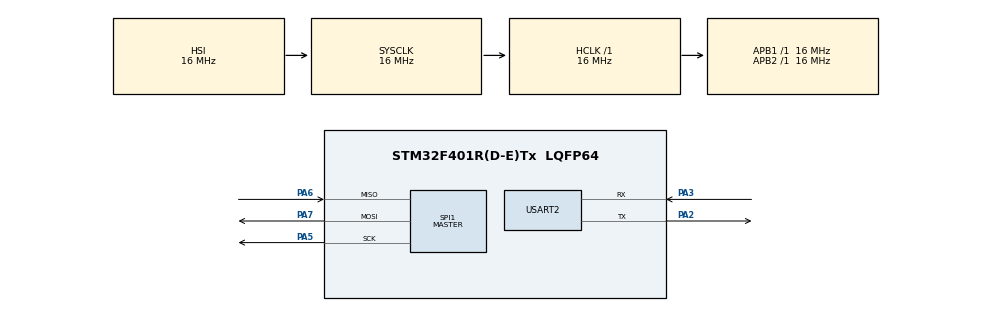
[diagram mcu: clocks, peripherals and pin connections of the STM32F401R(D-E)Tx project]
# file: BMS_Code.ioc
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Dma.Request0=SPI1_RX
Dma.Request1=SPI1_TX
Dma.SPI1_RX.0.Direction=DMA_PERIPH_TO_MEMORY
Dma.SPI1_RX.0.FIFOMode=DMA_FIFOMODE_DISABLE
Dma.SPI1_RX.0.Instance=DMA2_Stream0
Dma.SPI1_RX.0.MemDataAlignment=DMA_MDATAALIGN_BYTE
Dma.SPI1_RX.0.MemInc=DMA_MINC_ENABLE
Dma.SPI1_RX.0.Mode=DMA_NORMAL
Dma.SPI1_RX.0.PeriphDataAlignment=DMA_PDATAALIGN_BYTE
Dma.SPI1_RX.0.PeriphInc=DMA_PINC_DISABLE
Dma.SPI1_RX.0.Priority=DMA_PRIORITY_LOW
Dma.SPI1_TX.1.Direction=DMA_MEMORY_TO_PERIPH
Dma.SPI1_TX.1.FIFOMode=DMA_FIFOMODE_DISABLE
Dma.SPI1_TX.1.Instance=DMA2_Stream3
Dma.SPI1_TX.1.MemDataAlignment=DMA_MDATAALIGN_BYTE
Dma.SPI1_TX.1.MemInc=DMA_MINC_ENABLE
Dma.SPI1_TX.1.Mode=DMA_NORMAL
Dma.SPI1_TX.1.PeriphDataAlignment=DMA_PDATAALIGN_BYTE
Dma.SPI1_TX.1.PeriphInc=DMA_PINC_DISABLE
Dma.SPI1_TX.1.Priority=DMA_PRIORITY_LOW
Mcu.Family=STM32F4
Mcu.Name=STM32F401R(D-E)Tx
Mcu.Package=LQFP64
NVIC.DMA2_Stream0_IRQn=true\:0\:0\:false\:false\:true\:false\:true
NVIC.DMA2_Stream3_IRQn=true\:0\:0\:false\:false\:true\:false\:true
NVIC.PriorityGroup=NVIC_PRIORITYGROUP_4
PA2.Mode=Asynchronous
PA2.Signal=USART2_TX
PA3.Mode=Asynchronous
PA3.Signal=USART2_RX
PA5.Mode=Full_Duplex_Master
PA5.Signal=SPI1_SCK
PA6.Mode=Full_Duplex_Master
PA6.Signal=SPI1_MISO
PA7.Mode=Full_Duplex_Master
PA7.Signal=SPI1_MOSI
ProjectManager.HeapSize=0x200
ProjectManager.StackSize=0x400
ProjectManager.TargetToolchain=STM32CubeIDE
RCC.AHBFreq_Value=16000000
RCC.APB1Freq_Value=16000000
RCC.APB2Freq_Value=16000000
RCC.CortexFreq_Value=16000000
RCC.HSE_VALUE=25000000
RCC.HSI_VALUE=16000000
RCC.LSE_VALUE=32768
RCC.SYSCLKFreq_VALUE=16000000
RCC.VCOOutputFreq_Value=192000000
SPI1.Direction=SPI_DIRECTION_2LINES
SPI1.Mode=SPI_MODE_MASTER
SPI1.VirtualType=VM_MASTER
USART2.VirtualMode=VM_ASYNC
board=custom

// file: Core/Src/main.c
/* USER CODE BEGIN Header */
/**
  ******************************************************************************
  * @file           : main.c
  * @brief          : Main program body
  ******************************************************************************
  * @attention
  *
  * <h2><center>&copy; Copyright (c) 2020 STMicroelectronics.
  * All rights reserved.</center></h2>
  *
  * This software component is licensed by ST under BSD 3-Clause license,
  * the "License"; You may not use this file except in compliance with the
  * License. You may obtain a copy of the License at:
  *                        opensource.org/licenses/BSD-3-Clause
  *
  ******************************************************************************
  */
/* USER CODE END Header */

#include "main.h"

/* USER CODE BEGIN Includes */
#include "string.h"
/* USER CODE END Includes */

/* USER CODE BEGIN PM */
#define LENGTH 1
#define RX_LENGTH 1

/* USER CODE END PM */

SPI_HandleTypeDef hspi1;
DMA_HandleTypeDef hdma_spi1_rx;
DMA_HandleTypeDef hdma_spi1_tx;

UART_HandleTypeDef huart2;

/* USER CODE BEGIN PV */
uint8_t buffer_tx[LENGTH];
uint8_t buffer_rx[LENGTH];

/* USER CODE END PV */

void SystemClock_Config(void);
static void MX_GPIO_Init(void);
static void MX_DMA_Init(void);
static void MX_USART2_UART_Init(void);
static void MX_SPI1_Init(void);

int sent = 0;
int count = 0;
int main(void)
{

  /* MCU Configuration--------------------------------------------------------*/

  /* Reset of all peripherals, Initializes the Flash interface and the Systick. */
  HAL_Init();

  /* Configure the system clock */
  SystemClock_Config();

  /* Initialize all configured peripherals */
  MX_GPIO_Init();
  MX_DMA_Init();
  MX_USART2_UART_Init();
  MX_SPI1_Init();
  /* USER CODE BEGIN 2 */

  buffer_tx[0] = 0x0F | 0x80;
  buffer_tx[1] = 0x0F | 0x80;
  /*buffer_tx[2] = 30;
  buffer_tx[3] = 40;
  buffer_tx[4] = 50;
  buffer_tx[5] = 60;
  buffer_tx[6] = 70;
  buffer_tx[7] = 80;*/

  /* USER CODE END 2 */

  /* Infinite loop */

  //HAL_SPI_Transmit_DMA(&hspi1, buffer_tx, 1);

  while (1)
  {
  /* USER CODE BEGIN WHILE */

	/*if (!sent) {
		sent = 1;
		HAL_SPI_TransmitReceive_DMA(&hspi1, buffer_tx, buffer_rx, LENGTH);
		buffer_tx[0] += 1;
		buffer_tx[0] %= 128;
	}*/

	HAL_SPI_TransmitReceive_DMA(&hspi1, buffer_tx, buffer_rx, 1);

	HAL_Delay(200);
    /* USER CODE END WHILE */

  }
}

/* USER CODE BEGIN CUSTOM */

void encode(uint8_t val, char* msg) {
	msg[2] = val % 10 + '0';
	val /= 10;
	msg[1] = val % 10 + '0';
	val /= 10;
	msg[0] = val % 10 + '0';
}

void HAL_SPI_TxRxCpltCallback(SPI_HandleTypeDef *hspi) {
	char msg1[9];
	uint8_t val1 = hspi->pRxBuffPtr[0];
	uint8_t val2 = hspi->pRxBuffPtr[1];
	encode(val1, msg1);
	encode(val2, msg1 + 4);
	msg1[3] = ' ';
	msg1[7] = '\n';
	msg1[8] = '\0';

	HAL_UART_Transmit(&huart2, (uint8_t*)msg1, strlen(msg1), 0xFFFF);
}

void HAL_SPI_ErrorCallback(SPI_HandleTypeDef *hspi) {
}

/* USER CODE END CUSTOM */

void SystemClock_Config(void)
{
  RCC_OscInitTypeDef RCC_OscInitStruct = {0};
  RCC_ClkInitTypeDef RCC_ClkInitStruct = {0};

  /** Configure the main internal regulator output voltage
  */
  __HAL_RCC_PWR_CLK_ENABLE();
  __HAL_PWR_VOLTAGESCALING_CONFIG(PWR_REGULATOR_VOLTAGE_SCALE2);
  /** Initializes the CPU, AHB and APB busses clocks
  */
  RCC_OscInitStruct.OscillatorType = RCC_OSCILLATORTYPE_HSI;
  RCC_OscInitStruct.HSIState = RCC_HSI_ON;
  RCC_OscInitStruct.HSICalibrationValue = RCC_HSICALIBRATION_DEFAULT;
  RCC_OscInitStruct.PLL.PLLState = RCC_PLL_NONE;
  if (HAL_RCC_OscConfig(&RCC_OscInitStruct) != HAL_OK)
  {
    Error_Handler();
  }
  /** Initializes the CPU, AHB and APB busses clocks
  */
  RCC_ClkInitStruct.ClockType = RCC_CLOCKTYPE_HCLK|RCC_CLOCKTYPE_SYSCLK
                              |RCC_CLOCKTYPE_PCLK1|RCC_CLOCKTYPE_PCLK2;
  RCC_ClkInitStruct.SYSCLKSource = RCC_SYSCLKSOURCE_HSI;
  RCC_ClkInitStruct.AHBCLKDivider = RCC_SYSCLK_DIV1;
  RCC_ClkInitStruct.APB1CLKDivider = RCC_HCLK_DIV1;
  RCC_ClkInitStruct.APB2CLKDivider = RCC_HCLK_DIV1;

  if (HAL_RCC_ClockConfig(&RCC_ClkInitStruct, FLASH_LATENCY_0) != HAL_OK)
  {
    Error_Handler();
  }
}

static void MX_SPI1_Init(void)
{

  /* SPI1 parameter configuration*/
  hspi1.Instance = SPI1;
  hspi1.Init.Mode = SPI_MODE_MASTER;
  hspi1.Init.Direction = SPI_DIRECTION_2LINES;
  hspi1.Init.DataSize = SPI_DATASIZE_8BIT;
  hspi1.Init.CLKPolarity = SPI_POLARITY_HIGH;
  hspi1.Init.CLKPhase = SPI_PHASE_1EDGE;
  hspi1.Init.NSS = SPI_NSS_SOFT;
  hspi1.Init.BaudRatePrescaler = SPI_BAUDRATEPRESCALER_256;
  hspi1.Init.FirstBit = SPI_FIRSTBIT_MSB;
  hspi1.Init.TIMode = SPI_TIMODE_DISABLE;
  hspi1.Init.CRCCalculation = SPI_CRCCALCULATION_DISABLE;
  hspi1.Init.CRCPolynomial = 10;
  if (HAL_SPI_Init(&hspi1) != HAL_OK)
  {
    Error_Handler();
  }

}

static void MX_USART2_UART_Init(void)
{

  huart2.Instance = USART2;
  huart2.Init.BaudRate = 115200;
  huart2.Init.WordLength = UART_WORDLENGTH_8B;
  huart2.Init.StopBits = UART_STOPBITS_1;
  huart2.Init.Parity = UART_PARITY_NONE;
  huart2.Init.Mode = UART_MODE_TX_RX;
  huart2.Init.HwFlowCtl = UART_HWCONTROL_NONE;
  huart2.Init.OverSampling = UART_OVERSAMPLING_16;
  if (HAL_UART_Init(&huart2) != HAL_OK)
  {
    Error_Handler();
  }
}

static void MX_DMA_Init(void)
{

  /* DMA controller clock enable */
  __HAL_RCC_DMA2_CLK_ENABLE();

  /* DMA interrupt init */
  /* DMA2_Stream0_IRQn interrupt configuration */
  HAL_NVIC_SetPriority(DMA2_Stream0_IRQn, 0, 0);
  HAL_NVIC_EnableIRQ(DMA2_Stream0_IRQn);
  /* DMA2_Stream3_IRQn interrupt configuration */
  HAL_NVIC_SetPriority(DMA2_Stream3_IRQn, 0, 0);
  HAL_NVIC_EnableIRQ(DMA2_Stream3_IRQn);

}

static void MX_GPIO_Init(void)
{

  /* GPIO Ports Clock Enable */
  __HAL_RCC_GPIOA_CLK_ENABLE();

}

void Error_Handler(void)
{
}

/************************ (C) COPYRIGHT STMicroelectronics *****END OF FILE****/
